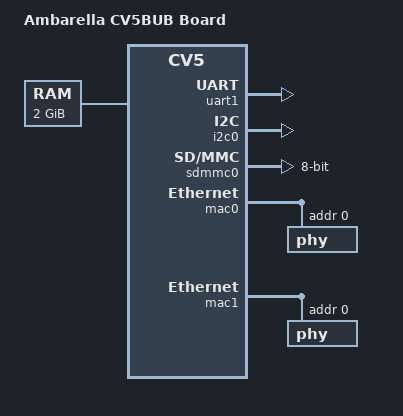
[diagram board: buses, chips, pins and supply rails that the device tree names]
/*
 * board level device tree source
 */

/dts-v1/;

/include/ "ambarella-cv5-ambalink.dtsi"

/ {
	model = "Ambarella CV5BUB Board";
	compatible = "ambarella,cv5bub", "ambarella,cv5";

	aliases {
		flexidag_sys = &cv_sys_mem;
		flexidag_rtos = &cv_rtos_mem;
		scheduler = &sub_scheduler;
		emmc = &sdmmc0;
	};

	amba_mal {
		compatible = "ambarella,mal";
		amb_mal_node@0 {
			amb_mal_id = <0>;
			memory-region = <&cv_sys_mem>;
		};

		amb_mal_node@1 {
			amb_mal_id = <1>;
			memory-region = <&cv_rtos_mem>;
		};
	};

	chosen {
		/*to be overwritten*/
		bootargs = "ubi.mtd=5 root=ubi0:linux rootfstype=ubifs console=ttyS1 nosmp maxcpus=0";
	};

	memory {
		device_type = "memory";
		/*to be overwritten*/
		reg = <0x0 0x200000 0x0 0x7fe00000>;
	};

	sub_scheduler: sub_scheduler0 {
		compatible = "ambarella,sub-scheduler";
		interrupts = <0x0 0xa9 0x4>;
		memory-region = <&cv_sys_mem>;
		memory-region1 = <&cv_rtos_mem>;
	};

	reserved-memory {
		#address-cells = <0x2>;
		#size-cells = <0x2>;
		ranges;
		device_type = "reserved-memory";
		cv_sys_mem: flexidag_sys {
		};
		cv_rtos_mem: flexidag_rtos {
		};
	};

	cpus {
		cpu@0 {
			cpu-release-addr = <0x0 0x170>;
			enable-method = "spin-table";
		};

		cpu@1 {
			cpu-release-addr = <0x0 0x178>;
			enable-method = "spin-table";
		};
	};

	ddr-controller@1000004000 {
		burst-size = <0x40>;
	};

	apb@20e4000000 {

	};

	ahb@20e0000000 {
		nand@e0002000 {
			amb,timing = <0x303320c 0x5050505 0x71464 0x0 0x0 0x0>;
		};
	};

	ppm2 {
		/*to be overwritten*/
		reg = <0x0 0x200000>;
		device_type = "ppm2";
	};

	shm {
		/*to be overwritten*/
		reg = <0x78000000 0x600000>;
		device_type = "shm";
	};

	/delete-node/ psci;
};

&uart0 {
	status = "disabled";
};

&uart1 {
	status = "ok";
};

&i2c0 {
	status = "ok";
};

&i2c1 {
	pinctrl-0 = <&i2c1_pins_a>;
};

&i2c2 {
	pinctrl-0 = <&i2c2_pins_a>;
};

&spi4 {
	pinctrl-0 = <&spi4_pins_b>;
};

&spi5 {
	pinctrl-0 = <&spi5_pins_b>;
};

&sdmmc0 {
	/*pwr-gpios = <&gpio 91 0x1>;*/
	/*v18-gpios = <&gpio 129 0x1>;*/
	/*amb,fixed-cd = <1>;*/
    /* Recommended for eMMC. */
//	non-removable;

	//Modify start byte addr and size to 64bits.
	#address-cells = <2>;
	#size-cells = <2>;
	sdhci,auto-cmd12;
	/* NEED: match to RTOS, CONFIG_ENABLE_EMMC_HS200 */
//	no-1-8-v;
	/* NEED: match to RTOS, CONFIG_EMMC_ACCESS_[1,4,8]BIT */
	bus-width = <8>;

	max-frequency = <24000000>;
	status = "ok";
};

&sdmmc1 {
	/*pwr-gpios = <&gpio 100 0x1>;*/
	/*v18-gpios = <&gpio 130 0x1>;*/
/*
	status = "ok";
 */
};

&sdmmc2 {
	pwr-gpios = <&gpio 109 0x1>;
	v18-gpios = <&gpio 132 0x1>;
/*
	status = "ok";
 */
};

&mac0 {
	amb,tx-clk-invert;

	phy@0 {
		reg = <0>;
	};
};

&mac1 {
	amb,tx-clk-invert;

	phy@0 {
		reg = <0>;
	};
};

&usbphy {
	/* high will trigger the ocp interrupt */
	amb,ocp-polarity = <0>;
	pinctrl-names = "default";
	pinctrl-0 = <&usb_host0_pins_a>;
};
